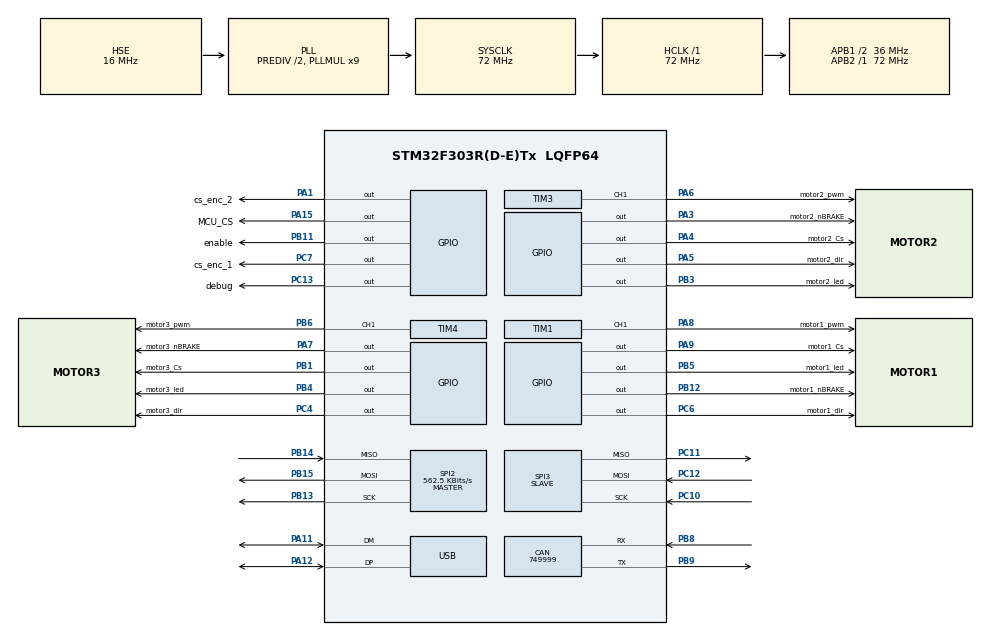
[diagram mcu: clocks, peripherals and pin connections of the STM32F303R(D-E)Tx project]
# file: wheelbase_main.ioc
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CAN.CalculateBaudRate=749999
CAN.CalculateTimeBit=1333
CAN.CalculateTimeQuantum=444.44444444444446
FREERTOS.Tasks01=defaultTask,0,128,StartDefaultTask,Default,NULL,Dynamic,NULL,NULL
Mcu.Family=STM32F3
Mcu.Name=STM32F303R(D-E)Tx
Mcu.Package=LQFP64
NVIC.PriorityGroup=NVIC_PRIORITYGROUP_4
NVIC.USB_LP_IRQn=true\:5\:0\:false\:false\:true\:true\:false\:true\:true
PA1.GPIO_Label=cs_enc_2
PA1.Signal=GPIO_Output
PA11.Mode=Device
PA11.Signal=USB_DM
PA12.Mode=Device
PA12.Signal=USB_DP
PA15.GPIO_Label=MCU_CS
PA15.Signal=GPIO_Output
PA3.GPIO_Label=motor2_nBRAKE
PA3.Signal=GPIO_Output
PA4.GPIO_Label=motor2_Cs
PA4.Signal=GPIO_Output
PA5.GPIO_Label=motor2_dir
PA5.Signal=GPIO_Output
PA6.GPIO_Label=motor2_pwm
PA6.Signal=S_TIM3_CH1
PA7.GPIO_Label=motor3_nBRAKE
PA7.Signal=GPIO_Output
PA8.GPIO_Label=motor1_pwm
PA8.Signal=S_TIM1_CH1
PA9.GPIO_Label=motor1_Cs
PA9.Signal=GPIO_Output
PB1.GPIO_Label=motor3_Cs
PB1.Signal=GPIO_Output
PB11.GPIO_Label=enable
PB11.Signal=GPIO_Output
PB12.GPIO_Label=motor1_nBRAKE
PB12.Signal=GPIO_Output
PB13.Mode=Full_Duplex_Master
PB13.Signal=SPI2_SCK
PB14.Mode=Full_Duplex_Master
PB14.Signal=SPI2_MISO
PB15.Mode=Full_Duplex_Master
PB15.Signal=SPI2_MOSI
PB3.GPIO_Label=motor2_led
PB3.Signal=GPIO_Output
PB4.GPIO_Label=motor3_led
PB4.Signal=GPIO_Output
PB5.GPIO_Label=motor1_led
PB5.Signal=GPIO_Output
PB6.GPIO_Label=motor3_pwm
PB6.Signal=S_TIM4_CH1
PB8.Mode=CAN_Activate
PB8.Signal=CAN_RX
PB9.Mode=CAN_Activate
PB9.Signal=CAN_TX
PC10.Mode=Full_Duplex_Slave
PC10.Signal=SPI3_SCK
PC11.Mode=Full_Duplex_Slave
PC11.Signal=SPI3_MISO
PC12.Mode=Full_Duplex_Slave
PC12.Signal=SPI3_MOSI
PC13.GPIO_Label=debug
PC13.Signal=GPIO_Output
PC4.GPIO_Label=motor3_dir
PC4.Signal=GPIO_Output
PC6.GPIO_Label=motor1_dir
PC6.Signal=GPIO_Output
PC7.GPIO_Label=cs_enc_1
PC7.Signal=GPIO_Output
PF0-OSC_IN.Mode=HSE-External-Oscillator
PF0-OSC_IN.Signal=RCC_OSC_IN
PF1-OSC_OUT.Mode=HSE-External-Oscillator
PF1-OSC_OUT.Signal=RCC_OSC_OUT
ProjectManager.HeapSize=0x200
ProjectManager.StackSize=0x400
ProjectManager.TargetToolchain=STM32CubeIDE
RCC.AHBFreq_Value=72000000
RCC.APB1CLKDivider=RCC_HCLK_DIV2
RCC.APB1Freq_Value=36000000
RCC.APB1TimFreq_Value=72000000
RCC.APB2Freq_Value=72000000
RCC.APB2TimFreq_Value=72000000
RCC.CortexFreq_Value=72000000
RCC.HCLKFreq_Value=72000000
RCC.HSE_VALUE=16000000
RCC.HSI_VALUE=8000000
RCC.LSE_VALUE=32768
RCC.PLLDivider=RCC_PREDIV_DIV2
RCC.PLLMUL=RCC_PLL_MUL9
RCC.PRESCALERUSB=RCC_USBCLKSOURCE_PLL_DIV1_5
RCC.SYSCLKFreq_VALUE=72000000
RCC.SYSCLKSourceVirtual=RCC_SYSCLKSOURCE_PLLCLK
RCC.USBFreq_Value=48000000
SH.S_TIM1_CH1.0=TIM1_CH1,PWM Generation1 CH1
SH.S_TIM3_CH1.0=TIM3_CH1,PWM Generation1 CH1
SH.S_TIM4_CH1.0=TIM4_CH1,PWM Generation1 CH1
SPI2.BaudRatePrescaler=SPI_BAUDRATEPRESCALER_64
SPI2.CLKPhase=SPI_PHASE_2EDGE
SPI2.CLKPolarity=SPI_POLARITY_LOW
SPI2.CalculateBaudRate=562.5 KBits/s
SPI2.DataSize=SPI_DATASIZE_8BIT
SPI2.Direction=SPI_DIRECTION_2LINES
SPI2.Mode=SPI_MODE_MASTER
SPI2.VirtualType=VM_MASTER
SPI3.Direction=SPI_DIRECTION_2LINES
SPI3.Mode=SPI_MODE_SLAVE
SPI3.VirtualType=VM_SLAVE
TIM1.Channel-PWM\ Generation1\ CH1=TIM_CHANNEL_1
TIM1.Period=99
TIM1.Prescaler=71
TIM3.Channel-PWM\ Generation1\ CH1=TIM_CHANNEL_1
TIM3.Period=3600
TIM3.Prescaler=0
TIM4.Channel-PWM\ Generation1\ CH1=TIM_CHANNEL_1
TIM4.Period=3600
TIM4.Prescaler=0
USB_DEVICE.CLASS_NAME_FS=CDC
USB_DEVICE.VirtualMode=Cdc
USB_DEVICE.VirtualModeFS=Cdc_FS
VP_FREERTOS_VS_CMSIS_V1.Mode=CMSIS_V1
VP_USB_DEVICE_VS_USB_DEVICE_CDC_FS.Mode=CDC_FS
board=custom

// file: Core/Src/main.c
/* USER CODE BEGIN Header */
/**
  ******************************************************************************
  * @file           : main.c
  * @brief          : Main program body
  ******************************************************************************
  */
/* USER CODE END Header */
#include "main.h"
#include "cmsis_os.h"
#include "can.h"
#include "spi.h"
#include "tim.h"
#include "usb_device.h"
#include "gpio.h"

/* USER CODE BEGIN Includes */
#include "motor.h"
#include "drv8353.h"
#include "usbd_cdc_if.h"
#include <string.h>
#include <sys/time.h>
/* USER CODE END Includes */

/* USER CODE BEGIN PD */

DRV8353_Handle drv_motor1, drv_motor2, drv_motor3;

motor_st motor1 = {
    .dir_port = motor1_dir_GPIO_Port,
    .dir_pin = motor1_dir_Pin,
    .pwm_timer = &htim1,
    .pwm_port = motor1_pwm_GPIO_Port,
    .pwm_pin = motor1_pwm_Pin,
    .duty_cycle = 0.0,
    .drv_handle = &drv_motor1
};

motor_st motor2 = {
    .dir_port = motor2_dir_GPIO_Port,
    .dir_pin = motor2_dir_Pin,
    .pwm_timer = &htim3,
    .pwm_port = motor2_pwm_GPIO_Port,
    .pwm_pin = motor2_pwm_Pin,
    .duty_cycle = 0.0,
    .drv_handle = &drv_motor2
};

motor_st motor3 = {
    .dir_port = motor3_dir_GPIO_Port,
    .dir_pin = motor3_dir_Pin,
    .pwm_timer = &htim4,
    .pwm_port = motor3_pwm_GPIO_Port,
    .pwm_pin = motor3_pwm_Pin,
    .duty_cycle = 0.0,
    .drv_handle = &drv_motor3
};
/* USER CODE END PD */

void SystemClock_Config(void);
void MX_FREERTOS_Init(void);

int main(void)
{

  /* MCU Configuration--------------------------------------------------------*/

  /* Reset of all peripherals, Initializes the Flash interface and the Systick. */
  HAL_Init();

  /* Configure the system clock */
  SystemClock_Config();

  /* Initialize all configured peripherals */
  MX_GPIO_Init();
  //MX_SPI1_Init();
  MX_SPI2_Init();
  MX_TIM1_Init();
  MX_TIM3_Init();
  MX_TIM4_Init();
  MX_CAN_Init();
  MX_SPI3_Init();
  /* USER CODE BEGIN 2 */
  MX_USB_DEVICE_Init();

  HAL_Delay(5000);

  // Motor 1
  drv_motor1.hspi = &hspi2;
  drv_motor1.cs_port = motor1_Cs_GPIO_Port;
  drv_motor1.cs_pin = motor1_Cs_Pin;
  drv_motor1.initialized = false;

  // Motor 2
  drv_motor2.hspi = &hspi2;
  drv_motor2.cs_port = motor2_Cs_GPIO_Port;
  drv_motor2.cs_pin = motor2_Cs_Pin;
  drv_motor2.initialized = false;

  // Motor 3
  drv_motor3.hspi = &hspi2;
  drv_motor3.cs_port = motor3_Cs_GPIO_Port;
  drv_motor3.cs_pin = motor3_Cs_Pin;
  drv_motor3.initialized = false;

  // Deselect all CS pins
  HAL_GPIO_WritePin(motor1_Cs_GPIO_Port, motor1_Cs_Pin, GPIO_PIN_SET);
  HAL_GPIO_WritePin(motor2_Cs_GPIO_Port, motor2_Cs_Pin, GPIO_PIN_SET);
  HAL_GPIO_WritePin(motor3_Cs_GPIO_Port, motor3_Cs_Pin, GPIO_PIN_SET);
  HAL_Delay(100);

  TIM_OC_InitTypeDef sConfigOC = {0};
  sConfigOC.OCMode = TIM_OCMODE_PWM1;
  sConfigOC.Pulse = 0;
  sConfigOC.OCPolarity = TIM_OCPOLARITY_HIGH;
  sConfigOC.OCFastMode = TIM_OCFAST_DISABLE;

  // Motor 1 (TIM1 CH1)
  HAL_TIM_PWM_ConfigChannel(&htim1, &sConfigOC, TIM_CHANNEL_1);
  HAL_TIM_PWM_Stop(&htim1, TIM_CHANNEL_1);
  __HAL_TIM_MOE_ENABLE(&htim1);

  // Motor 2 (TIM3 CH1)
  HAL_TIM_PWM_ConfigChannel(&htim3, &sConfigOC, TIM_CHANNEL_1);
  HAL_TIM_PWM_Stop(&htim3, TIM_CHANNEL_1);

  // Motor 3 (TIM4 CH1)
  HAL_TIM_PWM_ConfigChannel(&htim4, &sConfigOC, TIM_CHANNEL_1);
  HAL_TIM_PWM_Stop(&htim4, TIM_CHANNEL_1);

  HAL_GPIO_WritePin(enable_GPIO_Port, enable_Pin, GPIO_PIN_RESET);
  HAL_GPIO_WritePin(motor1_nBRAKE_GPIO_Port, motor1_nBRAKE_Pin, GPIO_PIN_RESET);
  HAL_GPIO_WritePin(motor2_nBRAKE_GPIO_Port, motor2_nBRAKE_Pin, GPIO_PIN_RESET);
  HAL_GPIO_WritePin(motor3_nBRAKE_GPIO_Port, motor3_nBRAKE_Pin, GPIO_PIN_RESET);
  HAL_Delay(10);

  HAL_GPIO_WritePin(enable_GPIO_Port, enable_Pin, GPIO_PIN_SET);
  HAL_Delay(100);

  /*
   *
   * driver_ctrl  = 0x0040  (Driver Control, address 0x02)
   * 0000000001000000
   *   [10]   OCP_ACT   = 0  — only the faulting half-bridge shuts down on OCP
   *   [9]    DIS_GDUV  = 0  — VCP/VGLS undervoltage lockout fault enabled
   *   [8]    DIS_GDF   = 0  — gate drive fault enabled
   *   [7]    OTW_REP   = 0  — overtemperature warning not reported on nFAULT
   *   [6:5]  PWM_MODE  = 10 — 1x PWM mode (direction pin + PWM pin)
   *   [4]    1PWM_COM  = 0  — synchronous rectification
   *   [3]    1PWM_DIR  = 0  — direction sourced from pin only
   *   [2]    COAST     = 0  — not coasting
   *   [1]    BRAKE     = 0  — brake off
   *   [0]    CLR_FLT   = 0  — no fault clear
   *
   * gate_hs_ctrl = 0x0300  (Gate Drive HS, address 0x03)
   * 0000001100000000
   *   [10:8] LOCK       = 011 — registers unlocked
   *   [7:4]  IDRIVEP_HS = 0000 — 50 mA HS gate source current
   *   [3:0]  IDRIVEN_HS = 0000 — 100 mA HS gate sink current
   *
   * gate_ls_ctrl = 0x0300  (Gate Drive LS, address 0x04)
   * 0000001100000000
   *   [10]   CBC        = 0  — OCP fault clears after tRETRY only
   *   [9:8]  TDRIVE     = 11 — 4000 ns peak gate-current drive time
   *   [7:4]  IDRIVEP_LS = 0000 — 50 mA LS gate source current
   *   [3:0]  IDRIVEN_LS = 0000 — 100 mA LS gate sink current
   *
   * ocp_ctrl     = 0x012D  (OCP Control, address 0x05)
   * 0000000100101101
   *   [10]   TRETRY     = 0  — OCP retry time 8 ms
   *   [9:8]  DEAD_TIME  = 01 — 100 ns dead time
   *   [7:6]  OCP_MODE   = 01 — automatic retry on overcurrent
   *   [5:4]  OCP_DEG    = 10 — 4 µs overcurrent deglitch
   *   [3:0]  VDS_LVL    = 1101 — 1.0 V VDS overcurrent threshold
   *
   * csa_ctrl     = 0x0123  (CSA Control, address 0x06)
   * 0000000100100011
   *   [10]   CSA_FET    = 0  — sense amplifier positive input = SPx
   *   [9]    VREF_DIV   = 0  — reference = VREF (unidirectional mode)
   *   [8]    LS_REF     = 1  — LS VDS_OCP measured SHx to SNx
   *   [7:6]  CSA_GAIN   = 01 — 10 V/V shunt amplifier gain
   *   [5]    DIS_SEN    = 0  — sense OCP enabled
   *   [4:2]  CSA_CAL_x  = 000 — normal amplifier operation
   *   [1:0]  SEN_LVL    = 11 — sense OCP threshold 1.0 V
   */

  uint16_t driver_ctrl = 0x0040;
  uint16_t gate_hs_ctrl = 0x0300;
  uint16_t gate_ls_ctrl = 0x0300;
  uint16_t ocp_ctrl = 0x0129;
  uint16_t csa_ctrl = 0x0123;

  // M1
  DRV8353_WriteRegister(&drv_motor1, DRV8353_REG_DRIVER_CONTROL, driver_ctrl);
  DRV8353_WriteRegister(&drv_motor1, DRV8353_REG_GATE_DRIVE_HS, gate_hs_ctrl);
  DRV8353_WriteRegister(&drv_motor1, DRV8353_REG_GATE_DRIVE_LS, gate_ls_ctrl);
  DRV8353_WriteRegister(&drv_motor1, DRV8353_REG_OCP_CONTROL, ocp_ctrl);
  DRV8353_WriteRegister(&drv_motor1, DRV8353_REG_CSA_CONTROL, csa_ctrl);

  // M2
  DRV8353_WriteRegister(&drv_motor2, DRV8353_REG_DRIVER_CONTROL, driver_ctrl);
  DRV8353_WriteRegister(&drv_motor2, DRV8353_REG_GATE_DRIVE_HS, gate_hs_ctrl);
  DRV8353_WriteRegister(&drv_motor2, DRV8353_REG_GATE_DRIVE_LS, gate_ls_ctrl);
  DRV8353_WriteRegister(&drv_motor2, DRV8353_REG_OCP_CONTROL, ocp_ctrl);
  DRV8353_WriteRegister(&drv_motor2, DRV8353_REG_CSA_CONTROL, csa_ctrl);

  // M3
  DRV8353_WriteRegister(&drv_motor3, DRV8353_REG_DRIVER_CONTROL, driver_ctrl);
  DRV8353_WriteRegister(&drv_motor3, DRV8353_REG_GATE_DRIVE_HS, gate_hs_ctrl);
  DRV8353_WriteRegister(&drv_motor3, DRV8353_REG_GATE_DRIVE_LS, gate_ls_ctrl);
  DRV8353_WriteRegister(&drv_motor3, DRV8353_REG_OCP_CONTROL, ocp_ctrl);
  DRV8353_WriteRegister(&drv_motor3, DRV8353_REG_CSA_CONTROL, csa_ctrl);

  HAL_GPIO_WritePin(motor1_nBRAKE_GPIO_Port, motor1_nBRAKE_Pin, GPIO_PIN_SET);
  HAL_GPIO_WritePin(motor2_nBRAKE_GPIO_Port, motor2_nBRAKE_Pin, GPIO_PIN_SET);
  HAL_GPIO_WritePin(motor3_nBRAKE_GPIO_Port, motor3_nBRAKE_Pin, GPIO_PIN_SET);
  HAL_Delay(100);

  // Calibration
  DRV8353_CalibrateCSAs(&drv_motor1);
  DRV8353_CalibrateCSAs(&drv_motor2);
  DRV8353_CalibrateCSAs(&drv_motor3);

  HAL_GPIO_WritePin(motor1.dir_port, motor1.dir_pin, GPIO_PIN_SET);
  HAL_GPIO_WritePin(motor2.dir_port, motor2.dir_pin, GPIO_PIN_SET);
  HAL_GPIO_WritePin(motor3.dir_port, motor3.dir_pin, GPIO_PIN_SET);

  /* USER CODE END 2 */

  MX_FREERTOS_Init();

  osKernelStart();

  /* Infinite loop */
  while (1)
  {

}
}

void SystemClock_Config(void)
{
  RCC_OscInitTypeDef RCC_OscInitStruct = {0};
  RCC_ClkInitTypeDef RCC_ClkInitStruct = {0};
  RCC_PeriphCLKInitTypeDef PeriphClkInit = {0};

  /** Initializes the RCC Oscillators according to the specified parameters
  * in the RCC_OscInitTypeDef structure.
  */
  RCC_OscInitStruct.OscillatorType = RCC_OSCILLATORTYPE_HSE;
  RCC_OscInitStruct.HSEState = RCC_HSE_ON;
  RCC_OscInitStruct.HSIState = RCC_HSI_ON;
  RCC_OscInitStruct.PLL.PLLState = RCC_PLL_ON;
  RCC_OscInitStruct.PLL.PLLSource = RCC_PLLSOURCE_HSE;
  RCC_OscInitStruct.PLL.PLLMUL = RCC_PLL_MUL9;
  RCC_OscInitStruct.PLL.PREDIV = RCC_PREDIV_DIV2;
  if (HAL_RCC_OscConfig(&RCC_OscInitStruct) != HAL_OK)
  {
    Error_Handler();
  }

  /** Initializes the CPU, AHB and APB buses clocks
  */
  RCC_ClkInitStruct.ClockType = RCC_CLOCKTYPE_HCLK|RCC_CLOCKTYPE_SYSCLK
                              |RCC_CLOCKTYPE_PCLK1|RCC_CLOCKTYPE_PCLK2;
  RCC_ClkInitStruct.SYSCLKSource = RCC_SYSCLKSOURCE_PLLCLK;
  RCC_ClkInitStruct.AHBCLKDivider = RCC_SYSCLK_DIV1;
  RCC_ClkInitStruct.APB1CLKDivider = RCC_HCLK_DIV2;
  RCC_ClkInitStruct.APB2CLKDivider = RCC_HCLK_DIV1;

  if (HAL_RCC_ClockConfig(&RCC_ClkInitStruct, FLASH_LATENCY_2) != HAL_OK)
  {
    Error_Handler();
  }
  PeriphClkInit.PeriphClockSelection = RCC_PERIPHCLK_USB|RCC_PERIPHCLK_TIM1
                              |RCC_PERIPHCLK_TIM34;
  PeriphClkInit.USBClockSelection = RCC_USBCLKSOURCE_PLL_DIV1_5;
  PeriphClkInit.Tim1ClockSelection = RCC_TIM1CLK_HCLK;
  PeriphClkInit.Tim34ClockSelection = RCC_TIM34CLK_HCLK;
  if (HAL_RCCEx_PeriphCLKConfig(&PeriphClkInit) != HAL_OK)
  {
    Error_Handler();
  }
}

/* USER CODE BEGIN 4 */

/* Function for microros, so it stops giving me compilation errors*/
int _gettimeofday(struct timeval *tv, void *tz) {
    (void)tz;
    uint32_t ms = HAL_GetTick();
    tv->tv_sec  = ms / 1000;
    tv->tv_usec = (ms % 1000) * 1000;
    return 0;
}

/* USER CODE END 4 */

void Error_Handler(void)
{
  __disable_irq();
  while (1)
  {
  }
}

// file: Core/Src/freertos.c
/* USER CODE BEGIN Header */
/**
  ******************************************************************************
  * File Name          : freertos.c
  * Description        : Code for freertos applications
  ******************************************************************************
  * @attention
  *
  * Copyright (c) 2026 STMicroelectronics.
  * All rights reserved.
  *
  * This software is licensed under terms that can be found in the LICENSE file
  * in the root directory of this software component.
  * If no LICENSE file comes with this software, it is provided AS-IS.
  *
  ******************************************************************************
  */
/* USER CODE END Header */

#include "FreeRTOS.h"
#include "task.h"
#include "main.h"
#include "cmsis_os.h"

/* USER CODE BEGIN Includes */
#include "motor.h"
#include "drv8353.h"
#include "tim.h"
#include "spi.h"
/* USER CODE END Includes */

/* USER CODE BEGIN PTD */
#include "sensor_msgs/msg/joint_state.h"
#include "diagnostic_msgs/msg/diagnostic_array.h"
#include "diagnostic_msgs/msg/diagnostic_status.h"
#include "diagnostic_msgs/msg/key_value.h"
#include "rosidl_runtime_c/string_functions.h"
#include "rosidl_runtime_c/primitives_sequence_functions.h"
#include <rcl/rcl.h>
#include <rcl/error_handling.h>
#include <rclc/rclc.h>
#include <rclc/executor.h>
#include <std_msgs/msg/float32_multi_array.h>
#include <rmw_microros/rmw_microros.h>
#include "usb_cdc_transport.h"
#include "usbd_cdc_if.h"
#include <math.h>
/* USER CODE END PTD */

/* USER CODE BEGIN PD */

/** Control loop period in milliseconds (200 Hz). */
#define CONTROL_LOOP_PERIOD_MS 5

/** JointState publish period in milliseconds (10 Hz). */
#define JOINT_STATE_PERIOD_MS 100

#define CMD_TIMEOUT_MS 		  1000

#define MAX_DUTY              0.50f
#define DUTY_DEADZONE         0.01f
#define NEG_PREKICK_DUTY      0.10f
#define NEG_PREKICK_MS        30

typedef struct {
    uint16_t prev_raw;
    int32_t  accum_counts;
    float    velocity_rads;
} encoder_state_t;

volatile float target_duty[3] = {0.0f, 0.0f, 0.0f};

static encoder_state_t enc[3] = {0};
volatile float debug_applied_duty[3] = {0.0f, 0.0f, 0.0f};
volatile float debug_target_duty[3] = {0.0f, 0.0f, 0.0f};
volatile uint32_t debug_ms_since_cmd = 0;
volatile uint8_t debug_timeout_active = 0;

/* USER CODE END PD */

/* USER CODE BEGIN PM */
void velocity_command_callback(const void * msgin);
void joint_state_timer_callback(rcl_timer_t * timer, int64_t last_call_time);
//void diagnostics_timer_callback(rcl_timer_t * timer, int64_t last_call_time);
/* USER CODE END PM */

rcl_node_t node;
rclc_support_t support;
rcl_publisher_t joint_state_pub;
sensor_msgs__msg__JointState joint_state_msg;

rcl_subscription_t velocity_cmd_sub;
rclc_executor_t executor;
std_msgs__msg__Float32MultiArray velocity_cmd_msg;

// Timer handles
rcl_timer_t joint_state_timer;
//rcl_timer_t diagnostics_timer;

// Diagnostic messages
//diagnostic_msgs__msg__DiagnosticArray diagnostics_msg;
//char g_debug_msg[128] = "init";
volatile uint32_t last_cmd_time = 0;
/* USER CODE END Variables */
osThreadId defaultTaskHandle;
osThreadId controlTaskHandle;
extern motor_st motor1, motor2, motor3;
extern DRV8353_Handle drv_motor1, drv_motor2, drv_motor3;

void StartDefaultTask(void const * argument);
void StartControlTask(void const * argument);

extern void MX_USB_DEVICE_Init(void);
void MX_FREERTOS_Init(void); /* (MISRA C 2004 rule 8.1) */

/* GetIdleTaskMemory prototype (linked to static allocation support) */
void vApplicationGetIdleTaskMemory( StaticTask_t **ppxIdleTaskTCBBuffer, StackType_t **ppxIdleTaskStackBuffer, uint32_t *pulIdleTaskStackSize );

/* USER CODE BEGIN GET_IDLE_TASK_MEMORY */
static StaticTask_t xIdleTaskTCBBuffer;
static StackType_t xIdleStack[configMINIMAL_STACK_SIZE];

void vApplicationGetIdleTaskMemory( StaticTask_t **ppxIdleTaskTCBBuffer, StackType_t **ppxIdleTaskStackBuffer, uint32_t *pulIdleTaskStackSize )
{
  *ppxIdleTaskTCBBuffer = &xIdleTaskTCBBuffer;
  *ppxIdleTaskStackBuffer = &xIdleStack[0];
  *pulIdleTaskStackSize = configMINIMAL_STACK_SIZE;
  /* place for user code */
}
/* USER CODE END GET_IDLE_TASK_MEMORY */

void MX_FREERTOS_Init(void) {

  /* Create the thread(s) */
  /* definition and creation of defaultTask */
  //osThreadDef(defaultTask, StartDefaultTask, osPriorityNormal, 0, 256);
 // defaultTaskHandle = osThreadCreate(osThread(defaultTask), NULL);

  osThreadDef(defaultTask, StartDefaultTask, osPriorityNormal, 0, 4000);
  defaultTaskHandle = osThreadCreate(osThread(defaultTask), NULL);

  /* definition and creation of controlTask */
  osThreadDef(controlTask, StartControlTask, osPriorityNormal, 0, 256);
  controlTaskHandle = osThreadCreate(osThread(controlTask), NULL);

}

void uros_fini_all(void)
{
    rcl_ret_t ret; // Suppressing compiler warnings
    ret = rcl_subscription_fini(&velocity_cmd_sub, &node); (void)ret;
    ret = rcl_publisher_fini(&joint_state_pub, &node);     (void)ret;
    ret = rcl_timer_fini(&joint_state_timer);              (void)ret;
    ret = rclc_executor_fini(&executor);                   (void)ret;
    ret = rcl_node_fini(&node);                            (void)ret;
    rclc_support_fini(&support);
}

static void Motor_SetDuty(TIM_HandleTypeDef *htim, uint32_t channel,
                          GPIO_TypeDef *dir_port, uint16_t dir_pin,
                          GPIO_TypeDef *brake_port, uint16_t brake_pin,
                          float duty)
{
    uint32_t arr = __HAL_TIM_GET_AUTORELOAD(htim);

    if (fabsf(duty) < DUTY_DEADZONE) {
        __HAL_TIM_SET_COMPARE(htim, channel, 0);

        HAL_GPIO_WritePin(brake_port, brake_pin, GPIO_PIN_RESET);

        return;
    }

    float clamped = fminf(fabsf(duty), MAX_DUTY);

    HAL_GPIO_WritePin(dir_port, dir_pin,
        duty >= 0.0f ? GPIO_PIN_SET : GPIO_PIN_RESET);

    HAL_GPIO_WritePin(brake_port, brake_pin, GPIO_PIN_SET);

    __HAL_TIM_SET_COMPARE(htim, channel, (uint32_t)(clamped * arr));
}

void StartDefaultTask(void const *argument)
{
    osDelay(2000);

    rmw_uros_set_custom_transport(
        true, NULL,
        cubemx_transport_open,
        cubemx_transport_close,
        cubemx_transport_write,
        cubemx_transport_read);

    for (;;) {

        // Wait for agent — slow blink
        while (rmw_uros_ping_agent(100, 1) != RMW_RET_OK) {
            HAL_GPIO_TogglePin(debug_GPIO_Port, debug_Pin);
            osDelay(500);
        }

        HAL_GPIO_WritePin(debug_GPIO_Port, debug_Pin, GPIO_PIN_SET);

        // Initialize micro-ROS
        rcl_allocator_t allocator = rcl_get_default_allocator();
        rclc_support_init(&support, 0, NULL, &allocator);
        rclc_node_init_default(&node, "motor_controller", "", &support);

        rclc_subscription_init_best_effort(
            &velocity_cmd_sub, &node,
            ROSIDL_GET_MSG_TYPE_SUPPORT(std_msgs, msg, Float32MultiArray),
            "/hardware_interface/velocity_cmd");

        sensor_msgs__msg__JointState__init(&joint_state_msg);
        rosidl_runtime_c__String__Sequence__init(&joint_state_msg.name, 3);
        rosidl_runtime_c__double__Sequence__init(&joint_state_msg.position, 3);
        rosidl_runtime_c__double__Sequence__init(&joint_state_msg.velocity, 3);
        rosidl_runtime_c__double__Sequence__init(&joint_state_msg.effort, 3);
        rosidl_runtime_c__String__assign(&joint_state_msg.name.data[0], "omni_ball_1_joint");
        rosidl_runtime_c__String__assign(&joint_state_msg.name.data[1], "omni_ball_2_joint");
        rosidl_runtime_c__String__assign(&joint_state_msg.name.data[2], "omni_ball_3_joint");

        rclc_publisher_init_default(&joint_state_pub, &node,
            ROSIDL_GET_MSG_TYPE_SUPPORT(sensor_msgs, msg, JointState), "motor_states");
        rclc_timer_init_default2(&joint_state_timer, &support,
            RCL_MS_TO_NS(JOINT_STATE_PERIOD_MS), joint_state_timer_callback, true);
        executor = rclc_executor_get_zero_initialized_executor();
        rclc_executor_init(&executor, &support.context, 2, &allocator);

        rosidl_runtime_c__float__Sequence__init(&velocity_cmd_msg.data, 3);

        rclc_executor_add_subscription(&executor, &velocity_cmd_sub,
            &velocity_cmd_msg, &velocity_command_callback, ON_NEW_DATA);

        rclc_executor_add_timer(&executor, &joint_state_timer);

        //ping agent every 5 seconds
        last_cmd_time = HAL_GetTick();
        bool connected = true;

        while (connected) {
        	/*
            if (HAL_GetTick() - last_ping > 5000) {
                last_ping = HAL_GetTick();
                if (rmw_uros_ping_agent(100, 1) != RMW_RET_OK) {
                    connected = false;
                }
            }
            */
            rclc_executor_spin_some(&executor, RCL_MS_TO_NS(1));
            osDelay(1);
        }

        // Connection lost — stop motors and blink
        target_duty[0] = 0.0f;
        target_duty[1] = 0.0f;
        target_duty[2] = 0.0f;
        HAL_GPIO_WritePin(debug_GPIO_Port, debug_Pin, GPIO_PIN_RESET);

        // Clean up
        uros_fini_all();

        osDelay(500);
    }
}

uint16_t Read_SSI(GPIO_TypeDef* cs_port, uint16_t cs_pin,
                  GPIO_TypeDef* data_port, uint16_t data_pin)
{
    uint16_t raw = 0;

    HAL_GPIO_WritePin(cs_port, cs_pin, GPIO_PIN_RESET);
    for (volatile int i = 0; i < 36; i++) { __NOP(); }

    for (int i = 15; i >= 0; i--) {
        HAL_GPIO_WritePin(SSI_CLK_GPIO_Port, SSI_CLK_Pin, GPIO_PIN_RESET);
        for (volatile int j = 0; j < 500; j++) { __NOP(); }
        HAL_GPIO_WritePin(SSI_CLK_GPIO_Port, SSI_CLK_Pin, GPIO_PIN_SET);
        for (volatile int j = 0; j < 500; j++) { __NOP(); }
        if (HAL_GPIO_ReadPin(data_port, data_pin) == GPIO_PIN_SET) {
            raw |= (1 << i);
        }
    }

    HAL_GPIO_WritePin(cs_port, cs_pin, GPIO_PIN_SET);
    for (volatile int i = 0; i < 500; i++) { __NOP(); }

    return (raw & 0x3FFF) >> 2 ;
}

void StartControlTask(void const * argument)
{
    // Deselect all CS
    HAL_GPIO_WritePin(motor1_adc_GPIO_Port, motor1_adc_Pin, GPIO_PIN_SET);
    HAL_GPIO_WritePin(motor2_adc_GPIO_Port, motor2_adc_Pin, GPIO_PIN_SET);
    HAL_GPIO_WritePin(motor3_adc_GPIO_Port, motor3_adc_Pin, GPIO_PIN_SET);
    HAL_GPIO_WritePin(motor1_Cs_GPIO_Port,  motor1_Cs_Pin,  GPIO_PIN_SET);
    HAL_GPIO_WritePin(motor2_Cs_GPIO_Port,  motor2_Cs_Pin,  GPIO_PIN_SET);
    HAL_GPIO_WritePin(motor3_Cs_GPIO_Port,  motor3_Cs_Pin,  GPIO_PIN_SET);
    HAL_GPIO_WritePin(cs_enc_1_GPIO_Port,   cs_enc_1_Pin,   GPIO_PIN_SET);
    HAL_GPIO_WritePin(cs_enc_2_GPIO_Port,   cs_enc_2_Pin,   GPIO_PIN_SET);
    HAL_GPIO_WritePin(cs_enc_3_GPIO_Port,   cs_enc_3_Pin,   GPIO_PIN_SET);

    // Start PWM timers
    __HAL_TIM_MOE_ENABLE(&htim1);
    HAL_TIM_PWM_Start(&htim1, TIM_CHANNEL_1);
    HAL_TIM_PWM_Start(&htim3, TIM_CHANNEL_1);
    HAL_TIM_PWM_Start(&htim4, TIM_CHANNEL_1);

    const float COUNTS_PER_REV = 4096.0f;
    const int ENCODER_CPR = 4096;
    const int ENCODER_HALF_CPR = 2048;
    const float TWO_PI_F = (2.0f * (float)M_PI);
    const float VELOCITY_FILTER_ALPHA = 0.2f;
    const float DT            = CONTROL_LOOP_PERIOD_MS / 1000.0f;

    // Prime encoders
    enc[0].prev_raw = Read_SSI(cs_enc_1_GPIO_Port, cs_enc_1_Pin, enc1_data_GPIO_Port, enc1_data_Pin);
    enc[1].prev_raw = Read_SSI(cs_enc_2_GPIO_Port, cs_enc_2_Pin, enc2_data_GPIO_Port, enc2_data_Pin);
    enc[2].prev_raw = Read_SSI(cs_enc_3_GPIO_Port, cs_enc_3_Pin, enc3_data_GPIO_Port, enc3_data_Pin);

    for (int i = 0; i < 3; i++) {
        enc[i].velocity_rads = 0.0f;
        enc[i].accum_counts = 0;
    }

    for (;;)
    {
    	static int startup_counter = 0;
    	startup_counter++;
        // --- Command timeout ---
    	debug_ms_since_cmd = HAL_GetTick() - last_cmd_time;
    	debug_timeout_active = debug_ms_since_cmd > CMD_TIMEOUT_MS;

        // --- Encoder reads ---
        uint16_t raw[3];
        raw[0] = Read_SSI(cs_enc_1_GPIO_Port, cs_enc_1_Pin, enc1_data_GPIO_Port, enc1_data_Pin);
        raw[1] = Read_SSI(cs_enc_2_GPIO_Port, cs_enc_2_Pin, enc2_data_GPIO_Port, enc2_data_Pin);
        raw[2] = Read_SSI(cs_enc_3_GPIO_Port, cs_enc_3_Pin, enc3_data_GPIO_Port, enc3_data_Pin);

        for (int i = 0; i < 3; i++)
        {
            int32_t delta = (int32_t)raw[i] - (int32_t)enc[i].prev_raw;

            // 12-bit wrap handling
            if (delta > ENCODER_HALF_CPR) {
                delta -= ENCODER_CPR;
            } else if (delta < -ENCODER_HALF_CPR) {
                delta += ENCODER_CPR;
            }
            // Discard large deltas, e.g. SPI glitches
            if (delta > 1000 || delta < -1000) {
                delta = 0;
            }
            if (delta >= -1 && delta <= 1) {
                delta = 0;
            }
            delta = -delta;

            enc[i].accum_counts += delta;
            enc[i].prev_raw = raw[i];

            float raw_vel = ((float)delta / COUNTS_PER_REV) * TWO_PI_F / DT;

            // Ignore first 100 cycles (~100ms)
            if (startup_counter < 100) {
                raw_vel = 0.0f;
            }
            if (fabsf(raw_vel) > 50.0f) {
                raw_vel = 0.0f;
            }
            // Low-pass filter velocity
            enc[i].velocity_rads =
                (1.0f - VELOCITY_FILTER_ALPHA) * enc[i].velocity_rads +
                VELOCITY_FILTER_ALPHA * raw_vel;
        }
        // --- Motor drive ---
        float mv1, mv2, mv3;

        taskENTER_CRITICAL();
        mv1 = target_duty[0];
        mv2 = target_duty[1];
        mv3 = target_duty[2];
        taskEXIT_CRITICAL();
        if (debug_timeout_active) {
            mv1 = 0.0f;
            mv2 = 0.0f;
            mv3 = 0.0f;
        }

        float mv[3] = {mv1, mv2, mv3};

        static float prev_cmd[3] = {0.0f, 0.0f, 0.0f};
        static uint8_t neg_prekick_active[3] = {0, 0, 0};
        static uint32_t neg_prekick_until[3] = {0, 0, 0};

        uint32_t now = HAL_GetTick();

        // When motor goes from rest to a negative duty cycle, it needs a litle kick. So a forward pulse is sent first and then negative
        for (int i = 0; i < 3; i++) {
            float commanded = mv[i];

            int was_stopped = fabsf(prev_cmd[i]) < DUTY_DEADZONE;
            int wants_negative = commanded < -DUTY_DEADZONE;

            if (was_stopped && wants_negative && !neg_prekick_active[i]) {
                neg_prekick_active[i] = 1;
                neg_prekick_until[i] = now + NEG_PREKICK_MS;
            }

            if (neg_prekick_active[i]) {
                if (now < neg_prekick_until[i]) {
                    mv[i] = NEG_PREKICK_DUTY;
                } else {
                    neg_prekick_active[i] = 0;
                    mv[i] = commanded;
                }
            }

            prev_cmd[i] = commanded;
        }

        mv1 = mv[0];
        mv2 = mv[1];
        mv3 = mv[2];
        debug_target_duty[0] = target_duty[0];
        debug_target_duty[1] = target_duty[1];
        debug_target_duty[2] = target_duty[2];

        debug_applied_duty[0] = mv1;
        debug_applied_duty[1] = mv2;
        debug_applied_duty[2] = mv3;

        Motor_SetDuty(&htim1, TIM_CHANNEL_1,
            motor1.dir_port, motor1.dir_pin,
            motor1_nBRAKE_GPIO_Port, motor1_nBRAKE_Pin,
            mv1);

        Motor_SetDuty(&htim3, TIM_CHANNEL_1,
            motor2.dir_port, motor2.dir_pin,
            motor2_nBRAKE_GPIO_Port, motor2_nBRAKE_Pin,
            mv2);

        Motor_SetDuty(&htim4, TIM_CHANNEL_1,
            motor3.dir_port, motor3.dir_pin,
            motor3_nBRAKE_GPIO_Port, motor3_nBRAKE_Pin,
            mv3);
        osDelay(CONTROL_LOOP_PERIOD_MS);
    }
}

/* USER CODE BEGIN Application */
void velocity_command_callback(const void * msgin)
{
    const std_msgs__msg__Float32MultiArray * msg =
        (const std_msgs__msg__Float32MultiArray *)msgin;

    if (msg->data.size >= 3) {
    	taskENTER_CRITICAL();
        target_duty[0] = msg->data.data[0];
        target_duty[1] = msg->data.data[1];
        target_duty[2] = msg->data.data[2];

        last_cmd_time=HAL_GetTick();

        taskEXIT_CRITICAL();
    }
}

void joint_state_timer_callback(rcl_timer_t * timer, int64_t last_call_time)
{
    (void)last_call_time;
    if (timer != NULL) {
    	uint16_t fault1 = 0;
    	uint16_t fault2 = 0;
    	uint16_t fault3 = 0;

    	DRV8353_ReadRegister(&drv_motor1, DRV8353_REG_FAULT_STATUS_1, &fault1);
    	DRV8353_ReadRegister(&drv_motor2, DRV8353_REG_FAULT_STATUS_1, &fault2);
    	DRV8353_ReadRegister(&drv_motor3, DRV8353_REG_FAULT_STATUS_1, &fault3);
        const float COUNTS_TO_RAD = 2.0f * (float)M_PI / 4096.0f;

        uint32_t tick = HAL_GetTick();
        joint_state_msg.header.stamp.sec = tick / 1000;
        joint_state_msg.header.stamp.nanosec = (tick % 1000) * 1000000;

        int32_t counts_now[3];
        float vel_now[3];

        taskENTER_CRITICAL();
        for (int i = 0; i < 3; i++) {
            counts_now[i] = enc[i].accum_counts;
            vel_now[i] = enc[i].velocity_rads;
        }
        taskEXIT_CRITICAL();

        for (int i = 0; i < 3; i++) {
            joint_state_msg.position.data[i] =
                (float)counts_now[i] * COUNTS_TO_RAD;

            if (fabsf(vel_now[i]) < 0.001f) {
                vel_now[i] = 0.0f;
            }

            joint_state_msg.velocity.data[i] = vel_now[i];
            joint_state_msg.effort.data[0] = (double)fault1;
            joint_state_msg.effort.data[1] = (double)fault2;
            joint_state_msg.effort.data[2] = (double)fault3;
        }

        rcl_ret_t ret = rcl_publish(&joint_state_pub, &joint_state_msg, NULL);
        (void)ret;
    }
}

/* USER CODE END Application */
